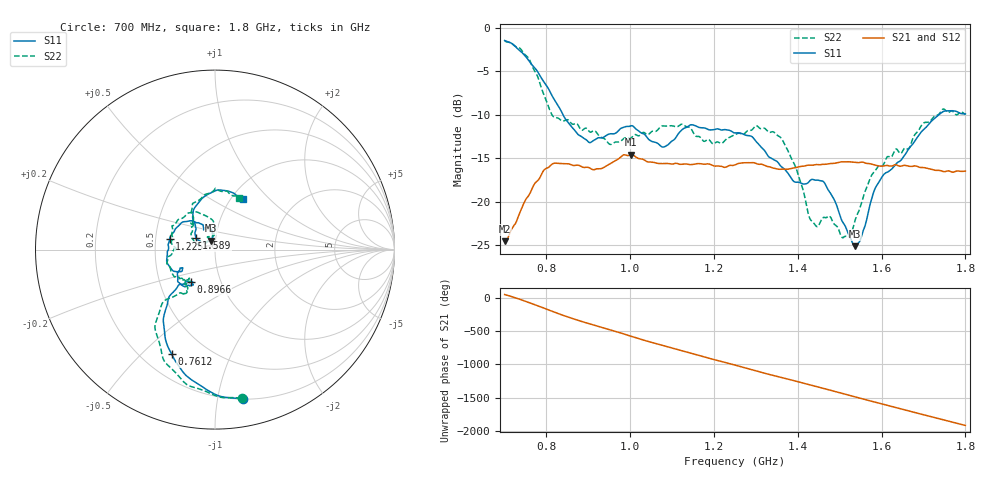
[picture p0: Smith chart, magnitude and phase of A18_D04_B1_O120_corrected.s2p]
! Created with skrf 1.9.0 (http://scikit-rf.org).
# Hz S RI R 50.0
!freq ReS11 ImS11 ReS21 ImS21 ReS12 ImS12 ReS22 ImS22
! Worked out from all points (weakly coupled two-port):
!   1601 points, 700 MHz to 1.8 GHz, reference 50 ohm
!   highest |S21| = -14.60 dB at 1.002 GHz (marker M1); lowest = -24.6 dB at 700.7 MHz (marker M2)
!   lowest |S11| = -25.1 dB at 1.537 GHz (marker M3), VSWR 1.12, Z = 47.4 + j4.74 ohm
!   |S11| at or under -10 dB: 839.5 MHz to 1.737 GHz (897 MHz wide, 69.6 % of centre)
!   |S22| runs from -24.2 to -1.5 dB; largest |S21 - S12| = 0.0034
!   S11 on the Smith chart (normalised r, x): 700 MHz: 0.20, -1.19; 761.2 MHz: 0.32, -0.62; 896.6 MHz: 0.72, -0.27; 1.225 GHz: 0.59, +0.08; 1.589 GHz: 0.80, +0.11; 1.8 GHz: 1.13, +0.71
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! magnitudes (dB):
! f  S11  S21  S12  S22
! 700 MHz  -1.4  -24.5  -24.3  -1.5
! 700.7 MHz  -1.5  -24.6  -24.3  -1.5
! 761.2 MHz  -4.0  -19.0  -18.9  -3.9
! 814.1 MHz  -7.9  -15.7  -15.7  -10.1
! 883.6 MHz  -12.5  -16.0  -15.9  -11.8
! 896.6 MHz  -12.9  -16.0  -16.1  -11.6
! 952.3 MHz  -12.2  -15.6  -15.6  -13.4
! 1.002 GHz  -11.3  -14.6  -14.7  -12.7
! 1.067 GHz  -13.3  -15.6  -15.5  -11.6
! 1.145 GHz  -11.2  -15.7  -15.7  -11.6
! 1.225 GHz  -11.7  -16.0  -16.0  -13.0
! 1.25 GHz  -12.1  -15.8  -15.7  -12.3
! 1.359 GHz  -15.9  -16.3  -16.3  -12.6
! 1.396 GHz  -17.8  -16.1  -16.1  -16.2
! 1.434 GHz  -17.4  -15.8  -15.8  -22.2
! 1.464 GHz  -17.8  -15.7  -15.7  -21.8
! 1.509 GHz  -22.5  -15.4  -15.4  -24.1
! 1.537 GHz  -25.1  -15.5  -15.5  -22.1
! 1.589 GHz  -18.1  -15.8  -15.8  -16.1
! 1.617 GHz  -16.5  -15.9  -15.8  -14.8
! 1.741 GHz  -9.8  -16.4  -16.4  -9.7
! 1.8 GHz  -9.9  -16.5  -16.5  -10.0
